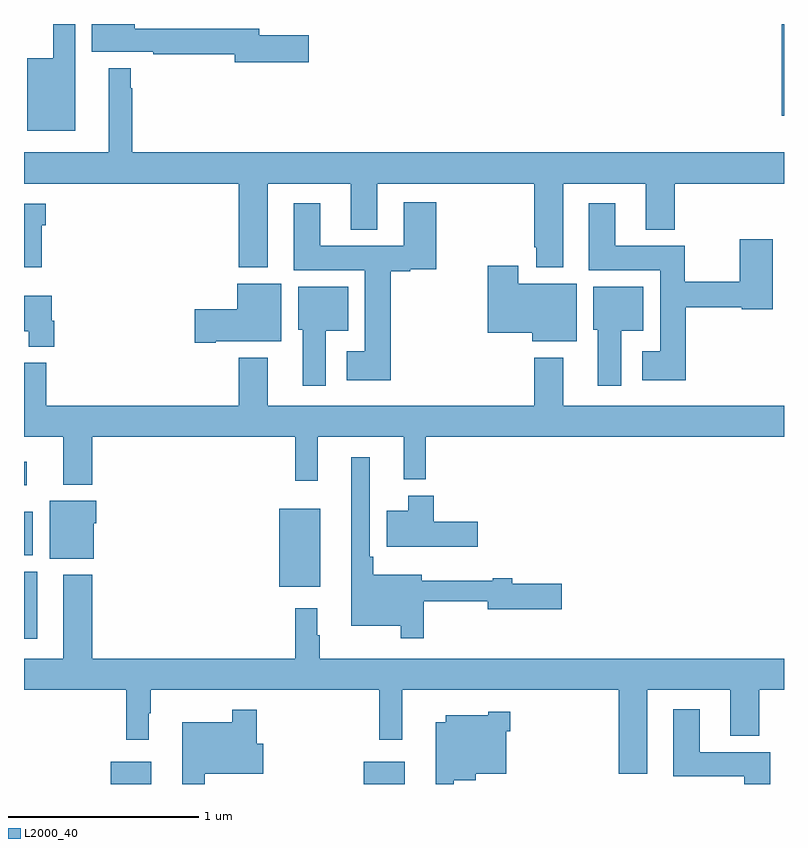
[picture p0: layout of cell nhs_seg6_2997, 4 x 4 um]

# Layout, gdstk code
import gdstk
lib = gdstk.Library(unit=1e-6, precision=1e-09)
def R(c, l, rs):  # rectangles x0, y0, x1, y1
    for r in rs: c.add(gdstk.rectangle(r[:2], r[2:], *l))
def P(c, l, *ps):  # polygons
    for p in ps: c.add(gdstk.Polygon(p, *l))
L2000_40 = (2000, 40)

nhs_seg6_2997 = lib.new_cell('nhs_seg6_2997')
R(nhs_seg6_2997, L2000_40, [(287.456,953.5,287.671,953.617), (288.788,953.5,289.003,953.617), (287,954.264,287.071,954.616), (288.344,954.539,288.559,954.949), (287,954.704,287.047,954.934), (287,955.073,287.014,955.195), (290.989,957.018,291,957.5)])
P(nhs_seg6_2997, L2000_40, [(288.499,957.44),(288.238,957.44),(288.238,957.476),(287.584,957.476),(287.584,957.5),(287.357,957.5),(287.357,957.353),(287.68,957.353),(287.68,957.34),(288.11,957.34),(288.11,957.298),(288.499,957.298)],
  [(287.269,957.5),(287.155,957.5),(287.155,957.319),(287.018,957.319),(287.018,956.939),(287.269,956.939)],
  [(288.283,956.66),(288.719,956.66),(288.719,956.417),(288.859,956.417),(288.859,956.66),(289.685,956.66),(289.685,956.326),(289.697,956.326),(289.697,956.219),(289.837,956.219),(289.837,956.66),(290.273,956.66),(290.273,956.417),(290.426,956.417),(290.426,956.66),(291,956.66),(291,956.824),(287.569,956.824),(287.569,957.161),(287.562,957.161),(287.562,957.268),(287.447,957.268),(287.447,956.824),(287,956.824),(287,956.66),(288.131,956.66),(288.131,956.219),(288.283,956.219)],
  [(288.929,956.198),(289.032,956.198),(289.032,956.21),(289.169,956.21),(289.169,956.563),(288.998,956.563),(288.998,956.332),(288.559,956.332),(288.559,956.557),(288.419,956.557),(288.419,956.204),(288.794,956.204),(288.794,955.777),(288.699,955.777),(288.699,955.625),(288.929,955.625)],
  [(290.483,956.008),(290.778,956.008),(290.778,956),(290.94,956),(290.94,956.368),(290.767,956.368),(290.767,956.144),(290.478,956.144),(290.478,956.332),(290.113,956.332),(290.113,956.557),(289.973,956.557),(289.973,956.204),(290.348,956.204),(290.348,955.777),(290.253,955.777),(290.253,955.625),(290.483,955.625)],
  [(287.094,956.441),(287.114,956.441),(287.114,956.554),(287,956.554),(287,956.219),(287.094,956.219)],
  [(289.909,956.134),(289.6,956.134),(289.6,956.227),(289.442,956.227),(289.442,955.874),(289.676,955.874),(289.676,955.829),(289.909,955.829)],
  [(288.01,955.829),(288.355,955.829),(288.355,956.134),(288.122,956.134),(288.122,956),(287.898,956),(287.898,955.822),(288.01,955.822)],
  [(288.589,955.886),(288.706,955.886),(288.706,956.116),(288.443,956.116),(288.443,955.89),(288.467,955.89),(288.467,955.596),(288.589,955.596)],
  [(290.143,955.886),(290.26,955.886),(290.26,956.116),(289.997,956.116),(289.997,955.89),(290.021,955.89),(290.021,955.596),(290.143,955.596)],
  [(287.159,955.938),(287.146,955.938),(287.146,956.071),(287,956.071),(287,955.883),(287.024,955.883),(287.024,955.802),(287.159,955.802)],
  [(287,955.717),(287,955.328),(287.207,955.328),(287.207,955.076),(287.36,955.076),(287.36,955.328),(288.427,955.328),(288.427,955.095),(288.545,955.095),(288.545,955.328),(288.998,955.328),(288.998,955.103),(289.115,955.103),(289.115,955.328),(291,955.328),(291,955.492),(289.837,955.492),(289.837,955.744),(289.685,955.744),(289.685,955.492),(288.283,955.492),(288.283,955.744),(288.131,955.744),(288.131,955.492),(287.117,955.492),(287.117,955.717)],
  [(289.105,954.462),(289.442,954.462),(289.442,954.419),(289.831,954.419),(289.831,954.554),(289.57,954.554),(289.57,954.583),(289.466,954.583),(289.466,954.571),(289.093,954.571),(289.093,954.601),(288.839,954.601),(288.839,954.697),(288.819,954.697),(288.819,955.219),(288.722,955.219),(288.722,954.332),(288.984,954.332),(288.984,954.267),(289.105,954.267)],
  [(289.387,954.879),(289.157,954.879),(289.157,955.018),(289.022,955.018),(289.022,954.937),(288.908,954.937),(288.908,954.749),(289.387,954.749)],
  [(287.368,954.873),(287.38,954.873),(287.38,954.991),(287.135,954.991),(287.135,954.686),(287.368,954.686)],
  [(288.556,954.284),(288.544,954.284),(288.544,954.424),(288.427,954.424),(288.427,954.16),(287.36,954.16),(287.36,954.601),(287.207,954.601),(287.207,954.16),(287,954.16),(287,953.996),(287.539,953.996),(287.539,953.733),(287.656,953.733),(287.656,953.873),(287.668,953.873),(287.668,953.996),(288.871,953.996),(288.871,953.733),(288.99,953.733),(288.99,953.996),(290.129,953.996),(290.129,953.555),(290.281,953.555),(290.281,953.996),(290.717,953.996),(290.717,953.753),(290.87,953.753),(290.87,953.996),(291,953.996),(291,954.16),(288.556,954.16)],
  [(290.927,953.668),(290.557,953.668),(290.557,953.893),(290.417,953.893),(290.417,953.54),(290.792,953.54),(290.792,953.5),(290.927,953.5)],
  [(287.951,953.555),(288.259,953.555),(288.259,953.713),(288.224,953.713),(288.224,953.89),(288.096,953.89),(288.096,953.824),(287.834,953.824),(287.834,953.5),(287.951,953.5)],
  [(289.263,953.519),(289.378,953.519),(289.378,953.555),(289.537,953.555),(289.537,953.777),(289.559,953.777),(289.559,953.881),(289.443,953.881),(289.443,953.863),(289.22,953.863),(289.22,953.824),(289.166,953.824),(289.166,953.5),(289.263,953.5)])

lib.write_gds('nhs_seg6_2997.gds')
